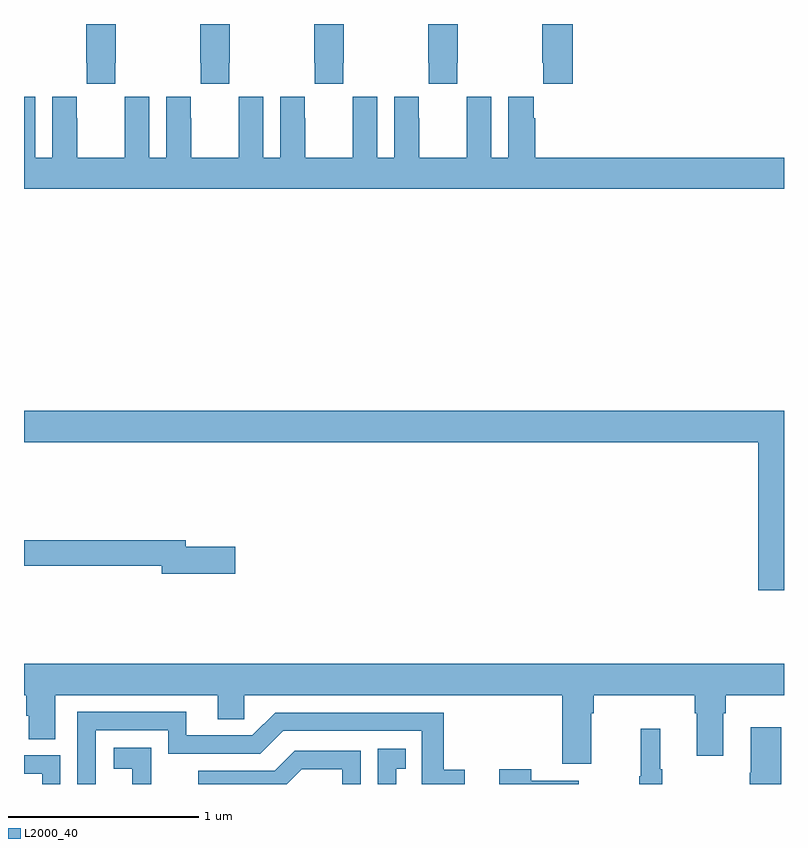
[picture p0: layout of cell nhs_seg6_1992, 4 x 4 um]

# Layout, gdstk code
import gdstk
lib = gdstk.Library(unit=1e-6, precision=1e-09)
def P(c, l, *ps):  # polygons
    for p in ps: c.add(gdstk.Polygon(p, *l))
L2000_40 = (2000, 40)

nhs_seg6_1992 = lib.new_cell('nhs_seg6_1992')
P(nhs_seg6_1992, L2000_40, [(231.887,985.5),(231.727,985.5),(231.727,985.297),(231.733,985.297),(231.733,985.185),(231.887,985.185)],
  [(231.279,985.297),(231.282,985.297),(231.282,985.5),(231.127,985.5),(231.127,985.297),(231.129,985.297),(231.129,985.185),(231.279,985.185)],
  [(230.679,985.297),(230.682,985.297),(230.682,985.5),(230.527,985.5),(230.527,985.297),(230.529,985.297),(230.529,985.185),(230.679,985.185)],
  [(230.079,985.297),(230.082,985.297),(230.082,985.5),(229.927,985.5),(229.927,985.297),(229.929,985.297),(229.929,985.185),(230.079,985.185)],
  [(229.479,985.297),(229.482,985.297),(229.482,985.5),(229.327,985.5),(229.327,985.297),(229.329,985.297),(229.329,985.185),(229.479,985.185)],
  [(230.13,985.117),(230.13,985.004),(230.129,985.004),(230.129,984.796),(229.879,984.796),(229.879,985.004),(229.878,985.004),(229.878,985.117),(229.748,985.117),(229.748,984.796),(229.66,984.796),(229.66,985.117),(229.53,985.117),(229.53,985.004),(229.529,985.004),(229.529,984.796),(229.279,984.796),(229.279,985.004),(229.278,985.004),(229.278,985.117),(229.148,985.117),(229.148,984.796),(229.06,984.796),(229.06,985.117),(229,985.117),(229,984.632),(233,984.632),(233,984.796),(231.692,984.796),(231.692,985.004),(231.682,985.004),(231.682,985.117),(231.548,985.117),(231.548,984.796),(231.46,984.796),(231.46,985.117),(231.33,985.117),(231.33,985.004),(231.329,985.004),(231.329,984.796),(231.079,984.796),(231.079,985.004),(231.078,985.004),(231.078,985.117),(230.948,985.117),(230.948,984.796),(230.86,984.796),(230.86,985.117),(230.73,985.117),(230.73,985.004),(230.729,985.004),(230.729,984.796),(230.479,984.796),(230.479,985.004),(230.478,985.004),(230.478,985.117),(230.348,985.117),(230.348,984.796),(230.26,984.796),(230.26,985.117)],
  [(233,983.464),(229,983.464),(229,983.3),(232.865,983.3),(232.865,982.521),(233,982.521)],
  [(230.113,982.748),(229.852,982.748),(229.852,982.784),(229,982.784),(229,982.648),(229.724,982.648),(229.724,982.606),(230.113,982.606)],
  [(231.985,981.872),(231.998,981.872),(231.998,981.968),(232.529,981.968),(232.529,981.872),(232.541,981.872),(232.541,981.648),(232.681,981.648),(232.681,981.872),(232.694,981.872),(232.694,981.968),(233,981.968),(233,982.132),(229,982.132),(229,981.968),(229.013,981.968),(229.013,981.859),(229.026,981.859),(229.026,981.736),(229.165,981.736),(229.165,981.968),(230.021,981.968),(230.021,981.841),(230.16,981.841),(230.16,981.968),(231.833,981.968),(231.833,981.606),(231.985,981.606)],
  [(229.377,981.783),(229.758,981.783),(229.758,981.66),(230.244,981.66),(230.364,981.78),(231.093,981.78),(231.093,981.5),(231.32,981.5),(231.32,981.574),(231.209,981.574),(231.209,981.876),(230.322,981.876),(230.202,981.756),(229.855,981.756),(229.855,981.879),(229.281,981.879),(229.281,981.5),(229.377,981.5)],
  [(232.985,981.799),(232.826,981.799),(232.826,981.56),(232.819,981.56),(232.819,981.5),(232.985,981.5)],
  [(232.36,981.577),(232.349,981.577),(232.349,981.79),(232.246,981.79),(232.246,981.54),(232.239,981.54),(232.239,981.5),(232.36,981.5)],
  [(229.671,981.691),(229.473,981.691),(229.473,981.581),(229.571,981.581),(229.571,981.5),(229.671,981.5)],
  [(230.959,981.579),(231.008,981.579),(231.008,981.685),(230.862,981.685),(230.862,981.5),(230.959,981.5)],
  [(230.462,981.578),(230.676,981.578),(230.676,981.5),(230.772,981.5),(230.772,981.675),(230.426,981.675),(230.321,981.57),(229.918,981.57),(229.918,981.5),(230.384,981.5)],
  [(229.191,981.651),(229,981.651),(229,981.555),(229.095,981.555),(229.095,981.5),(229.191,981.5)],
  [(231.919,981.517),(231.671,981.517),(231.671,981.577),(231.5,981.577),(231.5,981.5),(231.919,981.5)])

lib.write_gds('nhs_seg6_1992.gds')
